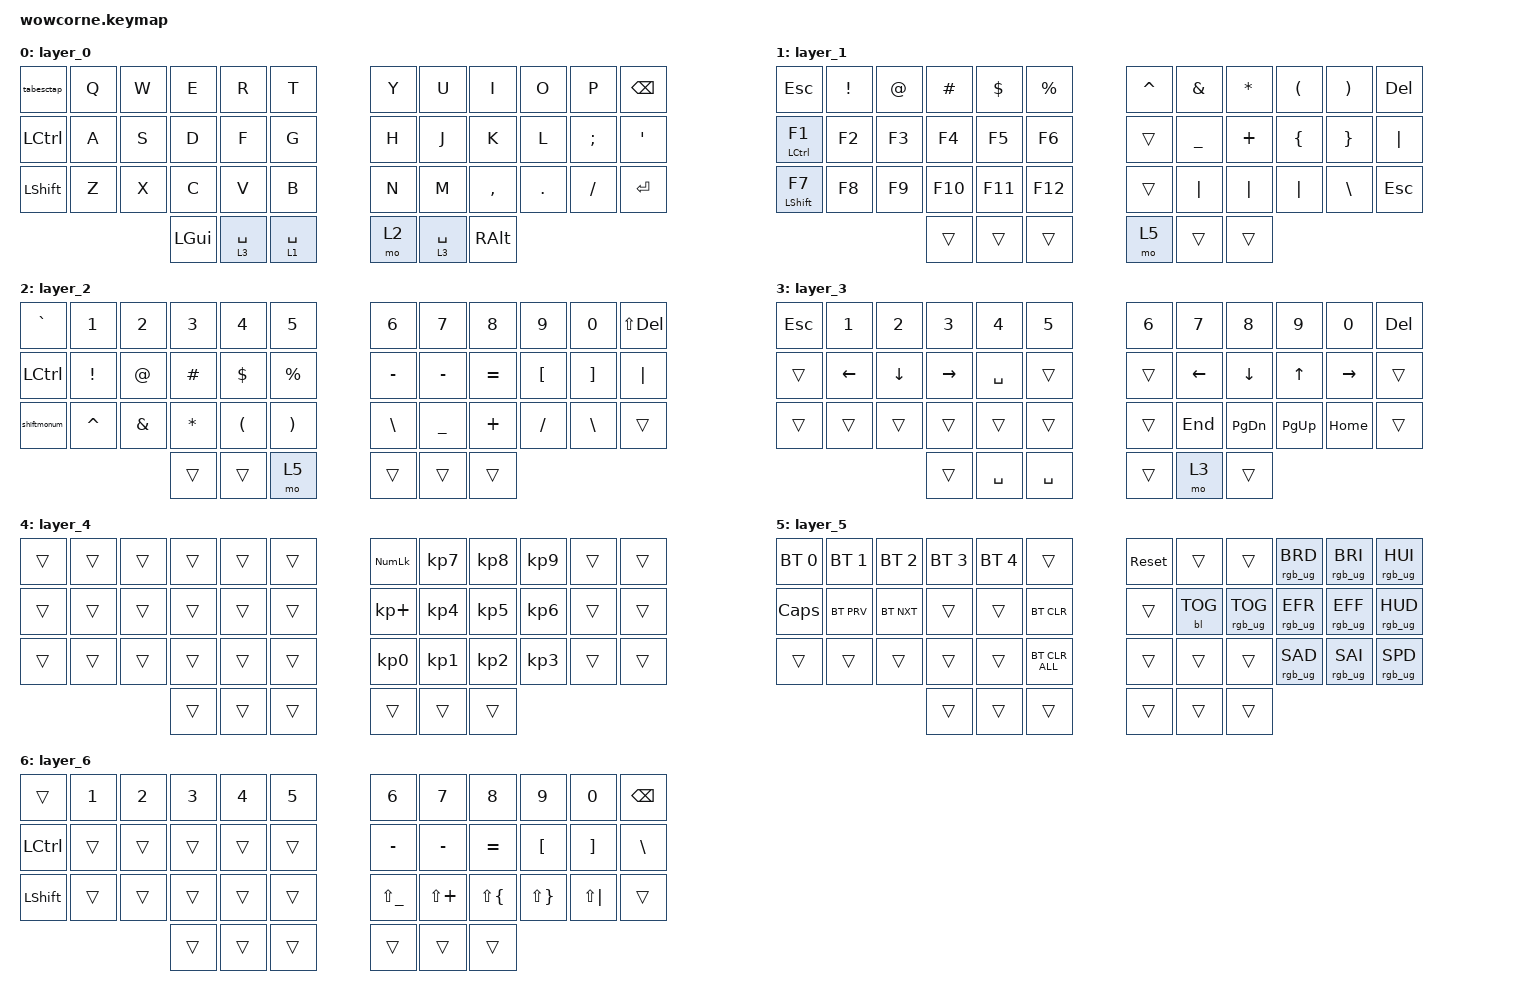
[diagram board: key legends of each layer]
/*
 * Copyright (c) 2020 The ZMK Contributors
 *
 * SPDX-License-Identifier: MIT
 */

#include <dt-bindings/zmk/mouse.h>
#include <behaviors.dtsi>
#include <dt-bindings/zmk/keys.h>
#include <dt-bindings/zmk/bt.h>
#include <behaviors/mouse_keys.dtsi>


#define WIN 0
#define MAC 1
#define NAV 2
#define SYM 3
#define FN 4
#define CFG 5
#define MSE 6

//universial keycodes

#define L_SYM &mo SYM
#define L_FN  &mo FN
#define L_CFG &mo CFG
#define L_NAV &mo NAV
#define L_MSE &mo MSE
#define TAB_C &kp LC(TAB)
#define LT_SPACE &lt MSE SPACE

// winos keycodes
#define WHF &hm LCTRL F
#define WHD &hm LALT D
#define WHJ &hm RCTRL J
#define WHK &hm RALT K
#define LANGW &mt RSHFT RALT
#define ESCW &mt LGUI ESC


// macos keycodes
#define MHF &hm LGUI F
#define MHD &hm LALT D
#define MHJ &hm RGUI J
#define MHK &hm RALT K
#define OBS &hm LA(LSFT) A
#define OBS_C &hm LC(LA(LSFT)) A
#define LANGM &mt RALT LC(SPACE)
#define ESCM &mt LCTRL ESC


&mt {
    tapping-term-ms = <125>;
};

/ {
    behaviors {
        tabesctap: tabesctap {
            compatible = "zmk,behavior-tap-dance";
            label = "TABESCTAP";
            #binding-cells = <0>;
            tapping-term-ms = <170>;
            bindings = <&kp TAB>, <&kp ESCAPE>;
        };

        spacelayer: spacelayer {
            compatible = "zmk,behavior-hold-tap";
            label = "SPACELAYER";
            bindings = <&mo>, <&kp>;

            #binding-cells = <2>;
            tapping-term-ms = <400>;
            flavor = "tap-preferred";
        };

        shiftmonum: shiftmonum {
            compatible = "zmk,behavior-tap-dance";
            label = "SHIFTMONUM";
            #binding-cells = <0>;
            bindings = <&kp LEFT_SHIFT>, <&mo 3>;

            tapping-term-ms = <250>;
        };
    };

    keymap {
        compatible = "zmk,keymap";

        layer_0 {
            bindings = <
&tabesctap      &kp Q  &kp W  &kp E     &kp R                &kp T          &kp Y  &kp U        &kp I      &kp O    &kp P     &kp BSPC
&kp LCTRL       &kp A  &kp S  &kp D     &kp F                &kp G          &kp H  &kp J        &kp K      &kp L    &kp SEMI  &kp SQT
&kp LEFT_SHIFT  &kp Z  &kp X  &kp C     &kp V                &kp B          &kp N  &kp M        &kp COMMA  &kp DOT  &kp FSLH  &kp RET
                              &kp LGUI  &spacelayer 3 SPACE  &lt 1 SPACE    &mo 2  &lt 3 SPACE  &kp RALT
            >;
        };

        layer_1 {
            bindings = <
&kp ESC              &kp EXCLAMATION  &kp AT_SIGN  &kp HASH  &kp DOLLAR  &kp PERCENT    &kp CARET  &kp AMPS        &kp ASTRK  &kp LEFT_PARENTHESIS  &kp RIGHT_PARENTHESIS  &kp DEL
&mt LEFT_CONTROL F1  &kp F2           &kp F3       &kp F4    &kp F5      &kp F6         &trans     &kp UNDERSCORE  &kp PLUS   &kp LEFT_BRACE        &kp RIGHT_BRACE        &kp PIPE
&mt LEFT_SHIFT F7    &kp F8           &kp F9       &kp F10   &kp F11     &kp F12        &trans     &kp PIPE        &kp PIPE   &kp PIPE              &kp BACKSLASH          &kp ESCAPE
                                                   &trans    &trans      &trans         &mo 5      &trans          &trans
            >;
        };

        layer_2 {
            bindings = <
&kp GRAVE    &kp N1           &kp N2         &kp N3        &kp N4                &kp N5                   &kp N6     &kp N7     &kp N8     &kp N9    &kp N0         &kp LS(DEL)
&kp LCTRL    &kp EXCLAMATION  &kp AT         &kp HASH      &kp DOLLAR            &kp PERCENT              &kp MINUS  &kp MINUS  &kp EQUAL  &kp LBKT  &kp RBKT       &kp PIPE
&shiftmonum  &kp CARET        &kp AMPERSAND  &kp ASTERISK  &kp LEFT_PARENTHESIS  &kp RIGHT_PARENTHESIS    &kp BSLH   &kp UNDER  &kp PLUS   &kp FSLH  &kp BACKSLASH  &trans
                                             &trans        &trans                &mo 5                    &trans     &trans     &trans
            >;
        };

        layer_3 {
            bindings = <
&kp ESCAPE  &kp NUMBER_1  &kp NUMBER_2  &kp NUMBER_3  &kp NUMBER_4  &kp N5       &kp NUMBER_6  &kp N7          &kp N8         &kp N9       &kp N0     &kp DEL
&trans      &kp LEFT      &kp DOWN      &kp RIGHT     &kp SPACE     &trans       &trans        &kp LEFT_ARROW  &kp DOWN       &kp UP       &kp RIGHT  &trans
&trans      &trans        &trans        &trans        &trans        &trans       &trans        &kp END         &kp PAGE_DOWN  &kp PAGE_UP  &kp HOME   &trans
                                        &trans        &kp SPACE     &kp SPACE    &trans        &mo 3           &trans
            >;
        };

        layer_4 {
            bindings = <
&trans  &trans  &trans  &trans  &trans  &trans    &kp KP_NUMLOCK   &kp KP_N7        &kp KP_NUMBER_8  &kp KP_NUMBER_9  &trans  &trans
&trans  &trans  &trans  &trans  &trans  &trans    &kp KP_PLUS      &kp KP_NUMBER_4  &kp KP_NUMBER_5  &kp KP_NUMBER_6  &trans  &trans
&trans  &trans  &trans  &trans  &trans  &trans    &kp KP_NUMBER_0  &kp KP_NUMBER_1  &kp KP_NUMBER_2  &kp KP_NUMBER_3  &trans  &trans
                        &trans  &trans  &trans    &trans           &trans           &trans
            >;
        };

        layer_5 {
            bindings = <
&bt BT_SEL 0  &bt BT_SEL 1  &bt BT_SEL 2  &bt BT_SEL 3  &bt BT_SEL 4  &trans            &sys_reset  &trans      &trans           &rgb_ug RGB_BRD  &rgb_ug RGB_BRI  &rgb_ug RGB_HUI
&kp CAPSLOCK  &bt BT_PRV    &bt BT_NXT    &trans        &trans        &bt BT_CLR        &trans      &bl BL_TOG  &rgb_ug RGB_TOG  &rgb_ug RGB_EFR  &rgb_ug RGB_EFF  &rgb_ug RGB_HUD
&trans        &trans        &trans        &trans        &trans        &bt BT_CLR_ALL    &trans      &trans      &trans           &rgb_ug RGB_SAD  &rgb_ug RGB_SAI  &rgb_ug RGB_SPD
                                          &trans        &trans        &trans            &trans      &trans      &trans
            >;
        };

        layer_6 {
            bindings = <
&trans     &kp N1  &kp N2  &kp N3  &kp N4  &kp N5    &kp N6         &kp N7        &kp N8        &kp N9        &kp N0        &kp BSPC
&kp LCTRL  &trans  &trans  &trans  &trans  &trans    &kp MINUS      &kp MINUS     &kp EQUAL     &kp LBKT      &kp RBKT      &kp BSLH
&kp LSHFT  &trans  &trans  &trans  &trans  &trans    &kp LS(UNDER)  &kp LS(PLUS)  &kp LS(LBRC)  &kp LS(RBRC)  &kp LS(PIPE)  &trans
                           &trans  &trans  &trans    &trans         &trans        &trans
            >;
        };
    };
};
